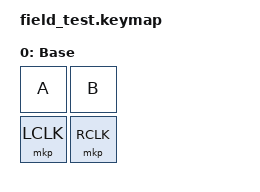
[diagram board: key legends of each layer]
/*
 * Copyright (c) 2024 Field Test contributors
 * SPDX-License-Identifier: MIT
 *
 * Field Test — 4-key keyboard keymap
 *
 * Key positions:
 *   0  1
 *   2  3
 *
 * Layers:
 *   0 = BASE
 */

#include <behaviors.dtsi>
#include <dt-bindings/zmk/bt.h>
#include <dt-bindings/zmk/keys.h>
#include <dt-bindings/zmk/pointing.h>

/ {
    keymap {
        compatible = "zmk,keymap";

        base_layer {
            display-name = "Base";
            bindings = <
                &kp A     &kp B
                &mkp LCLK &mkp RCLK
            >;
        };
    };
};
